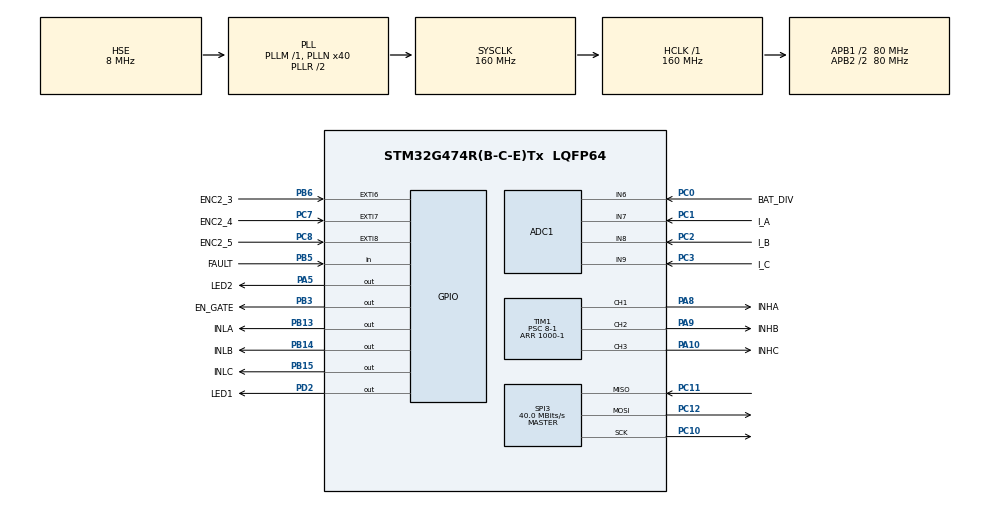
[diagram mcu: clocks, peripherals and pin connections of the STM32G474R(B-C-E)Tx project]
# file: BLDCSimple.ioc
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ADC1.Channel-0\#ChannelRegularConversion=ADC_CHANNEL_6
ADC1.Channel-1\#ChannelRegularConversion=ADC_CHANNEL_7
ADC1.Channel-2\#ChannelRegularConversion=ADC_CHANNEL_8
ADC1.Channel-3\#ChannelRegularConversion=ADC_CHANNEL_9
ADC1.ClockPrescaler=ADC_CLOCK_SYNC_PCLK_DIV4
ADC1.ContinuousConvMode=ENABLE
ADC1.DMAContinuousRequests=ENABLE
ADC1.EOCSelection=ADC_EOC_SINGLE_CONV
ADC1.GainCompensation=0
ADC1.NbrOfConversion=4
ADC1.NbrOfConversionFlag=1
ADC1.OffsetNumber-0\#ChannelRegularConversion=ADC_OFFSET_NONE
ADC1.OffsetNumber-1\#ChannelRegularConversion=ADC_OFFSET_NONE
ADC1.OffsetNumber-2\#ChannelRegularConversion=ADC_OFFSET_NONE
ADC1.OffsetNumber-3\#ChannelRegularConversion=ADC_OFFSET_NONE
ADC1.OversamplingMode=ENABLE
ADC1.Rank-0\#ChannelRegularConversion=1
ADC1.Rank-1\#ChannelRegularConversion=2
ADC1.Rank-2\#ChannelRegularConversion=3
ADC1.Rank-3\#ChannelRegularConversion=4
ADC1.Ratio=ADC_OVERSAMPLING_RATIO_16
ADC1.SamplingTime-0\#ChannelRegularConversion=ADC_SAMPLETIME_6CYCLES_5
ADC1.SamplingTime-1\#ChannelRegularConversion=ADC_SAMPLETIME_6CYCLES_5
ADC1.SamplingTime-2\#ChannelRegularConversion=ADC_SAMPLETIME_6CYCLES_5
ADC1.SamplingTime-3\#ChannelRegularConversion=ADC_SAMPLETIME_6CYCLES_5
ADC1.master=1
Dma.ADC1.0.Direction=DMA_PERIPH_TO_MEMORY
Dma.ADC1.0.EventEnable=DISABLE
Dma.ADC1.0.Instance=DMA1_Channel1
Dma.ADC1.0.MemDataAlignment=DMA_MDATAALIGN_WORD
Dma.ADC1.0.MemInc=DMA_MINC_ENABLE
Dma.ADC1.0.Mode=DMA_CIRCULAR
Dma.ADC1.0.PeriphDataAlignment=DMA_PDATAALIGN_WORD
Dma.ADC1.0.PeriphInc=DMA_PINC_DISABLE
Dma.ADC1.0.Polarity=HAL_DMAMUX_REQ_GEN_RISING
Dma.ADC1.0.Priority=DMA_PRIORITY_HIGH
Dma.ADC1.0.RequestNumber=1
Dma.ADC1.0.SignalID=NONE
Dma.ADC1.0.SyncEnable=DISABLE
Dma.ADC1.0.SyncPolarity=HAL_DMAMUX_SYNC_NO_EVENT
Dma.ADC1.0.SyncRequestNumber=1
Dma.ADC1.0.SyncSignalID=NONE
Dma.Request0=ADC1
Mcu.Family=STM32G4
Mcu.Name=STM32G474R(B-C-E)Tx
Mcu.Package=LQFP64
NVIC.DMA1_Channel1_IRQn=true\:0\:0\:false\:false\:true\:false\:true\:true
NVIC.EXTI9_5_IRQn=true\:0\:0\:false\:false\:true\:true\:true\:true
NVIC.PriorityGroup=NVIC_PRIORITYGROUP_4
NVIC.TIM1_UP_TIM16_IRQn=true\:1\:0\:true\:false\:true\:true\:true\:true
NVIC.TIM3_IRQn=true\:3\:0\:true\:false\:true\:true\:true\:true
NVIC.TIM7_DAC_IRQn=true\:2\:0\:true\:false\:true\:true\:true\:true
PA10.GPIO_Label=INHC
PA10.GPIO_PuPd=GPIO_NOPULL
PA10.Signal=S_TIM1_CH3
PA5.GPIO_Label=LED2
PA5.Signal=GPIO_Output
PA8.GPIO_Label=INHA
PA8.GPIO_PuPd=GPIO_NOPULL
PA8.Signal=S_TIM1_CH1
PA9.GPIO_Label=INHB
PA9.GPIO_PuPd=GPIO_NOPULL
PA9.Signal=S_TIM1_CH2
PB13.GPIO_Label=INLA
PB13.GPIO_Speed=GPIO_SPEED_FREQ_LOW
PB13.PinState=GPIO_PIN_SET
PB13.Signal=GPIO_Output
PB14.GPIO_Label=INLB
PB14.PinState=GPIO_PIN_SET
PB14.Signal=GPIO_Output
PB15.GPIO_Label=INLC
PB15.PinState=GPIO_PIN_SET
PB15.Signal=GPIO_Output
PB3.GPIO_Label=EN_GATE
PB3.Signal=GPIO_Output
PB5.GPIO_Label=FAULT
PB5.Signal=GPIO_Input
PB6.GPIO_Label=ENC2_3
PB6.GPIO_ModeDefaultEXTI=GPIO_MODE_IT_RISING_FALLING
PB6.GPIO_PuPd=GPIO_PULLUP
PB6.Signal=GPXTI6
PC0.GPIO_Label=BAT_DIV
PC0.Mode=IN6-Single-Ended
PC0.Signal=ADC1_IN6
PC1.GPIO_Label=I_A
PC1.Mode=IN7-Single-Ended
PC1.Signal=ADC1_IN7
PC10.Mode=Full_Duplex_Master
PC10.Signal=SPI3_SCK
PC11.Mode=Full_Duplex_Master
PC11.Signal=SPI3_MISO
PC12.Mode=Full_Duplex_Master
PC12.Signal=SPI3_MOSI
PC2.GPIO_Label=I_B
PC2.Mode=IN8-Single-Ended
PC2.Signal=ADC1_IN8
PC3.GPIO_Label=I_C
PC3.Mode=IN9-Single-Ended
PC3.Signal=ADC1_IN9
PC7.GPIO_Label=ENC2_4
PC7.GPIO_ModeDefaultEXTI=GPIO_MODE_IT_RISING_FALLING
PC7.GPIO_PuPd=GPIO_PULLUP
PC7.Signal=GPXTI7
PC8.GPIO_Label=ENC2_5
PC8.GPIO_ModeDefaultEXTI=GPIO_MODE_IT_RISING_FALLING
PC8.GPIO_PuPd=GPIO_PULLUP
PC8.Signal=GPXTI8
PD2.GPIO_Label=LED1
PD2.Signal=GPIO_Output
PF0-OSC_IN.Mode=HSE-External-Oscillator
PF0-OSC_IN.Signal=RCC_OSC_IN
PF1-OSC_OUT.Mode=HSE-External-Oscillator
PF1-OSC_OUT.Signal=RCC_OSC_OUT
ProjectManager.HeapSize=0x200
ProjectManager.StackSize=0x400
ProjectManager.TargetToolchain=STM32CubeIDE
RCC.ADC12Freq_Value=160000000
RCC.ADC345Freq_Value=160000000
RCC.AHBFreq_Value=160000000
RCC.APB1CLKDivider=RCC_HCLK_DIV2
RCC.APB1Freq_Value=80000000
RCC.APB1TimFreq_Value=160000000
RCC.APB2CLKDivider=RCC_HCLK_DIV2
RCC.APB2Freq_Value=80000000
RCC.APB2TimFreq_Value=160000000
RCC.CortexFreq_Value=160000000
RCC.EXTERNAL_CLOCK_VALUE=12288000
RCC.FDCANCLockSelection=RCC_FDCANCLKSOURCE_PLL
RCC.HCLKFreq_Value=160000000
RCC.HSE_VALUE=8000000
RCC.HSI48_VALUE=48000000
RCC.HSI_VALUE=16000000
RCC.LSE_VALUE=32768
RCC.PLLN=40
RCC.PLLSourceVirtual=RCC_PLLSOURCE_HSE
RCC.SYSCLKFreq_VALUE=160000000
RCC.SYSCLKSource=RCC_SYSCLKSOURCE_PLLCLK
RCC.USBFreq_Value=160000000
RCC.VCOOutputFreq_Value=320000000
SH.S_TIM1_CH1.0=TIM1_CH1,PWM Generation1 CH1
SH.S_TIM1_CH2.0=TIM1_CH2,PWM Generation2 CH2
SH.S_TIM1_CH3.0=TIM1_CH3,PWM Generation3 CH3
SPI3.CalculateBaudRate=40.0 MBits/s
SPI3.Direction=SPI_DIRECTION_2LINES
SPI3.Mode=SPI_MODE_MASTER
SPI3.VirtualType=VM_MASTER
TIM1.Channel-PWM\ Generation1\ CH1=TIM_CHANNEL_1
TIM1.Channel-PWM\ Generation2\ CH2=TIM_CHANNEL_2
TIM1.Channel-PWM\ Generation3\ CH3=TIM_CHANNEL_3
TIM1.PeriodNoDither=1000-1
TIM1.Prescaler=8-1
TIM3.PeriodNoDither=20000-1
TIM3.Prescaler=8000-1
TIM7.PeriodNoDither=1000-1
TIM7.Prescaler=160-1
VP_TIM1_VS_ClockSourceINT.Mode=Internal
VP_TIM3_VS_ClockSourceINT.Mode=Internal
VP_TIM7_VS_ClockSourceINT.Mode=Enable_Timer
board=custom

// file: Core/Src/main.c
/* USER CODE BEGIN Header */
/**
  ******************************************************************************
  * @file           : main.c
  * @brief          : Main program body
  ******************************************************************************
  * @attention
  *
  * Copyright (c) 2023 STMicroelectronics.
  * All rights reserved.
  *
  * This software is licensed under terms that can be found in the LICENSE file
  * in the root directory of this software component.
  * If no LICENSE file comes with this software, it is provided AS-IS.
  *
  ******************************************************************************
  */
/* USER CODE END Header */
#include "main.h"
#include "adc.h"
#include "dma.h"
#include "spi.h"
#include "tim.h"
#include "gpio.h"

/* USER CODE BEGIN Includes */
#include "bldc/bldc.h"
#include "controllers/pid.h"
#include "encoders/incremental_encoder/encoder.h"
/* USER CODE END Includes */

/* USER CODE BEGIN PD */
#define HAL_IMPORTANT(command) \
    if ((command) != HAL_OK) { \
        blink_notify(5);       \
        Error_Handler();       \
    }
/* USER CODE END PD */

/* USER CODE BEGIN PV */
const uint16_t main_encoder_CPR = 6;
const float MAX_CURRENT = 22;
const float STALL_CURRENT = 13;

DriveInfo drive = {
    .is_on = false,
    // Physical consts
    .gear_ratio = 1,
    .ppairs = 15,
    .supply_voltage = 31.4,  // V
    .torque_const = 0.24,  // Kt (calculated), Nm / A == V / (rad/s)
    .speed_const = 4.14,   // Kv (measured), (rad/s) / V, A / Nm
    .max_current = MAX_CURRENT,
    .stall_current = STALL_CURRENT,
    .full_pwm = 2000,
    .L_PINS = {GPIO_PIN_13, GPIO_PIN_14, GPIO_PIN_15}
};
DriverControl controller = {
    // Control params
    .predict_change = false,
    .detect_stall = true,
    .mode = HALL_SIX_STEP_CONTROL,
    .encoder_filtering = 1.0f,
    .speed_filtering = 0.5f,
    .sampling_interval = 0.01f,
    // Stalling detection
    .stall_timeout = 3,
    .stall_tolerance = 0.2,
    // Targets
    .velocity_target = 3.14,
    .current_limit = MAX_CURRENT,
    .user_current_limit = MAX_CURRENT,
    // Regulation
    .speed_mult = 1.0f,
    .electric_mult = 1.0f,
    .PWM_mult = 1.0f,
    .max_PWM_per_s = 1500,
    // Timer period
    .T = 0.00005,
    .velocity_regulator =
            {.p_gain = 4.8, .i_gain = 0.5, .d_gain = -0.5, .integral_error_lim = 1.0, .tolerance = 0.02},
    .electric_regulator = {
            .p_gain = 1.0,
            .i_gain = 0.0,
            .d_gain = 0.0,
            .integral_error_lim = 0.0,
            .tolerance = 0.001}
};
InverterState inverter = {
        .I_A_offset = 0,
        .I_B_offset = 0,
        .I_C_offset = 0,
};
#define ADC_buf_size 4
uint32_t ADC1_buf[ADC_buf_size] = {0};

IncrementalEncoder encoder_config;
DriveInfo drive;
DriverControl controller;
InverterState inverter;

GPIO_TypeDef* NotifyLED_GPIOx = LED2_GPIO_Port;
uint16_t NotifyLED_PIN = LED2_Pin;
/* USER CODE END PV */

void SystemClock_Config(void);
/* USER CODE BEGIN PFP */
bool motor_get_state() {
    return HAL_GPIO_ReadPin(EN_GATE_GPIO_Port, EN_GATE_Pin);
}

void motor_set_speed(float speed) {
    controller.velocity_target = speed;
}

void motor_set_current_lim(float limit) {
    controller.user_current_limit = limit;
}

float motor_get_speed() {
    return drive.shaft_velocity;
}

float motor_get_current_lim() {
    return controller.current_limit;
}

void start_motor() {
    for (int i = 0; i < 3; i++) {
        HAL_GPIO_WritePin(EN_GATE_GPIO_Port, EN_GATE_Pin, GPIO_PIN_RESET);
        HAL_Delay(10);
        HAL_GPIO_WritePin(EN_GATE_GPIO_Port, EN_GATE_Pin, GPIO_PIN_SET);
        HAL_Delay(10);
    }
    quit_stall(&drive, &controller);
    drive.is_on = true;
}

void stop_motor() {
    HAL_GPIO_WritePin(EN_GATE_GPIO_Port, EN_GATE_Pin, GPIO_PIN_RESET);
    drive.is_on = false;
}
/* USER CODE END PFP */

int main(void)
{

  /* MCU Configuration--------------------------------------------------------*/

  /* Reset of all peripherals, Initializes the Flash interface and the Systick. */
  HAL_Init();

  /* Configure the system clock */
  SystemClock_Config();

  /* Initialize all configured peripherals */
  MX_GPIO_Init();
  MX_DMA_Init();
  MX_ADC1_Init();
  MX_TIM1_Init();
  MX_TIM3_Init();
  MX_TIM7_Init();
  MX_SPI3_Init();
  /* USER CODE BEGIN 2 */
  DWT_Init();

  static EncoderStep sequence[6] = {CA, BA, BC, AC, AB, CB};
  make_incr_encoder_reserved(
      &encoder_config,
      main_encoder_CPR,
      false,
      ENC2_3_GPIO_Port,
      ENC2_4_GPIO_Port,
      ENC2_5_GPIO_Port,
      ENC2_3_Pin,
      ENC2_4_Pin,
      ENC2_5_Pin,
      sequence
  );
  drive.pulses_per_pair = (uint16_t)((float)main_encoder_CPR / (float)drive.ppairs);
  stop_motor();

  // ADC clock settings result in ~1% error
  HAL_ADCEx_Calibration_Start(&hadc1, ADC_SINGLE_ENDED);  // apply factory calibration
  HAL_ADC_Start_DMA(&hadc1, ADC1_buf, ADC_buf_size);

  HAL_TIM_PWM_Start(&htim1, TIM_CHANNEL_1);  // A-phase
  HAL_TIM_PWM_Start(&htim1, TIM_CHANNEL_2);  // B-phase
  HAL_TIM_PWM_Start(&htim1, TIM_CHANNEL_3);  // C-phase

  HAL_IMPORTANT(HAL_TIM_Base_Start_IT(&htim3))  // hbeat
  HAL_IMPORTANT(HAL_TIM_Base_Start_IT(&htim7))  // microseconds
  __HAL_TIM_ENABLE_IT(&htim1, TIM_IT_UPDATE);  // motor control

  for (int i = 0; i < 64; i++) {
      inverter.I_A_offset += (3.3f * (float)ADC1_buf[1] / (16.0f * 4096.0f));
      inverter.I_B_offset += (3.3f * (float)ADC1_buf[2] / (16.0f * 4096.0f));
      inverter.I_C_offset += (3.3f * (float)ADC1_buf[3] / (16.0f * 4096.0f));
      HAL_Delay(1);
  }
  inverter.I_A_offset /= 64.0f;
  inverter.I_B_offset /= 64.0f;
  inverter.I_C_offset /= 64.0f;

  start_motor();
  /* USER CODE END 2 */

  /* Infinite loop */
  while (1)
  {

  }
}

void SystemClock_Config(void)
{
  RCC_OscInitTypeDef RCC_OscInitStruct = {0};
  RCC_ClkInitTypeDef RCC_ClkInitStruct = {0};

  /** Configure the main internal regulator output voltage
  */
  HAL_PWREx_ControlVoltageScaling(PWR_REGULATOR_VOLTAGE_SCALE1_BOOST);

  /** Initializes the RCC Oscillators according to the specified parameters
  * in the RCC_OscInitTypeDef structure.
  */
  RCC_OscInitStruct.OscillatorType = RCC_OSCILLATORTYPE_HSE;
  RCC_OscInitStruct.HSEState = RCC_HSE_ON;
  RCC_OscInitStruct.PLL.PLLState = RCC_PLL_ON;
  RCC_OscInitStruct.PLL.PLLSource = RCC_PLLSOURCE_HSE;
  RCC_OscInitStruct.PLL.PLLM = RCC_PLLM_DIV1;
  RCC_OscInitStruct.PLL.PLLN = 40;
  RCC_OscInitStruct.PLL.PLLP = RCC_PLLP_DIV2;
  RCC_OscInitStruct.PLL.PLLQ = RCC_PLLQ_DIV2;
  RCC_OscInitStruct.PLL.PLLR = RCC_PLLR_DIV2;
  if (HAL_RCC_OscConfig(&RCC_OscInitStruct) != HAL_OK)
  {
    Error_Handler();
  }

  /** Initializes the CPU, AHB and APB buses clocks
  */
  RCC_ClkInitStruct.ClockType = RCC_CLOCKTYPE_HCLK|RCC_CLOCKTYPE_SYSCLK
                              |RCC_CLOCKTYPE_PCLK1|RCC_CLOCKTYPE_PCLK2;
  RCC_ClkInitStruct.SYSCLKSource = RCC_SYSCLKSOURCE_PLLCLK;
  RCC_ClkInitStruct.AHBCLKDivider = RCC_SYSCLK_DIV1;
  RCC_ClkInitStruct.APB1CLKDivider = RCC_HCLK_DIV2;
  RCC_ClkInitStruct.APB2CLKDivider = RCC_HCLK_DIV2;

  if (HAL_RCC_ClockConfig(&RCC_ClkInitStruct, FLASH_LATENCY_4) != HAL_OK)
  {
    Error_Handler();
  }
}

/* USER CODE BEGIN 4 */
uint64_t micros_64() {
    return micros_k * 1000 + __HAL_TIM_GetCounter(&htim7);
}

void HAL_GPIO_EXTI_Callback(uint16_t GPIO_Pin) {
    static float last_time = 0;

    if (GPIO_Pin == ENC2_3_Pin || GPIO_Pin == ENC2_4_Pin || GPIO_Pin == ENC2_5_Pin) {
        float current_time;
        if (controller.mode == HALL_SIX_STEP_CONTROL) {
            current_time = micros_64() / 1000000.0f;
        }
        bool has_changed = false;
        CRITICAL_SECTION({
            has_changed = handle_encoder_channel(&encoder_config, GPIO_Pin);
        })
        if (!has_changed) {
            return;
        }
        if (controller.mode == HALL_SIX_STEP_CONTROL) {
            encoder_config.newer_interrupt = true;
            hall_six_step_control_callback(
                &encoder_config,
                &controller,
                &drive,
                &inverter,
                current_time - last_time
            );
        }
        last_time = current_time;
    }
}

void HAL_TIM_PeriodElapsedCallback(TIM_HandleTypeDef* htim) {
    if (htim->Instance != TIM1)
        return;

    GEncoder* generic_encoder = (GEncoder*)(&encoder_config);
    CRITICAL_SECTION({
        motor_control(
            &controller,
            &drive,
            &inverter,
            ADC1_buf,
            generic_encoder,
            generic_encoder,
            &htim1
        );
    });
}

/* USER CODE END 4 */

void Error_Handler(void)
{
  __disable_irq();
  while (1)
  {
  }
}
